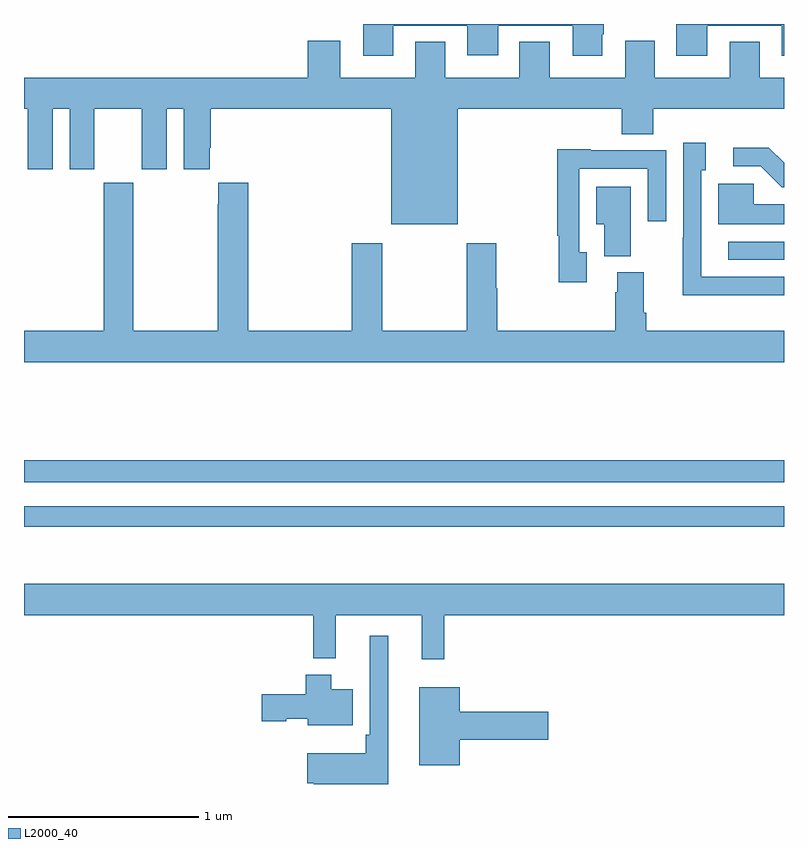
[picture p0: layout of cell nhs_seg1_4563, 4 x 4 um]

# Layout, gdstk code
import gdstk
lib = gdstk.Library(unit=1e-6, precision=1e-09)
def R(c, l, rs):  # rectangles x0, y0, x1, y1
    for r in rs: c.add(gdstk.rectangle(r[:2], r[2:], *l))
def P(c, l, *ps):  # polygons
    for p in ps: c.add(gdstk.Polygon(p, *l))
L2000_40 = (2000, 40)

nhs_seg1_4563 = lib.new_cell('nhs_seg1_4563')
R(nhs_seg1_4563, L2000_40, [(359,529.554,363,529.662), (359,529.788,363,529.904), (362.706,530.958,363,531.054)])
P(nhs_seg1_4563, L2000_40, [(362.596,532.19),(362.987,532.19),(362.987,532.032),(363,532.032),(363,532.199),(362.432,532.199),(362.432,532.032),(362.596,532.032)],
  [(360.943,532.191),(361.334,532.191),(361.334,532.035),(361.495,532.035),(361.495,532.191),(361.889,532.191),(361.889,532.032),(362.044,532.032),(362.044,532.144),(362.052,532.144),(362.052,532.199),(360.785,532.199),(360.785,532.032),(360.943,532.032)],
  [(362.147,531.619),(362.312,531.619),(362.312,531.752),(363,531.752),(363,531.916),(362.872,531.916),(362.872,532.105),(362.714,532.105),(362.714,531.916),(362.32,531.916),(362.32,532.111),(362.165,532.111),(362.165,531.916),(361.768,531.916),(361.768,532.106),(361.607,532.106),(361.607,531.916),(361.216,531.916),(361.216,532.106),(361.058,532.106),(361.058,531.916),(360.664,531.916),(360.664,532.111),(360.494,532.111),(360.494,531.916),(359,531.916),(359,531.752),(359.021,531.752),(359.021,531.435),(359.152,531.435),(359.152,531.752),(359.24,531.752),(359.24,531.435),(359.371,531.435),(359.371,531.752),(359.621,531.752),(359.621,531.435),(359.752,531.435),(359.752,531.752),(359.84,531.752),(359.84,531.435),(359.977,531.435),(359.977,531.547),(359.984,531.547),(359.984,531.752),(360.932,531.752),(360.932,531.146),(361.282,531.146),(361.282,531.752),(362.147,531.752)],
  [(362.93,530.772),(363,530.772),(363,530.868),(362.565,530.868),(362.565,531.429),(362.587,531.429),(362.587,531.574),(362.469,531.574),(362.469,531.074),(362.468,531.074),(362.468,530.771),(362.93,530.771)],
  [(363,531.468),(362.92,531.548),(362.733,531.548),(362.733,531.45),(362.877,531.45),(362.988,531.339),(363,531.339)],
  [(361.963,530.997),(361.923,530.997),(361.923,531.438),(362.283,531.438),(362.283,531.162),(362.379,531.162),(362.379,531.534),(361.983,531.534),(361.983,531.541),(361.807,531.541),(361.807,531.085),(361.815,531.085),(361.815,530.841),(361.963,530.841)],
  [(363,530.584),(362.276,530.584),(362.276,530.68),(362.263,530.68),(362.263,530.892),(362.123,530.892),(362.123,530.786),(362.111,530.786),(362.111,530.584),(361.49,530.584),(361.49,530.807),(361.485,530.807),(361.485,531.046),(361.33,531.046),(361.33,530.584),(360.885,530.584),(360.885,531.046),(360.725,531.046),(360.725,530.584),(360.179,530.584),(360.179,531.364),(360.023,531.364),(360.023,531.251),(360.019,531.251),(360.019,530.584),(359.574,530.584),(359.574,531.364),(359.419,531.364),(359.419,530.584),(359,530.584),(359,530.42),(363,530.42)],
  [(363,531.25),(362.841,531.25),(362.841,531.357),(362.654,531.357),(362.654,531.146),(363,531.146)],
  [(362.194,531.343),(362.012,531.343),(362.012,531.146),(362.054,531.146),(362.054,530.977),(362.194,530.977)],
  [(361.211,529.088),(363,529.088),(363,529.252),(359,529.252),(359,529.088),(360.523,529.088),(360.523,528.86),(360.641,528.86),(360.641,529.088),(361.094,529.088),(361.094,528.855),(361.211,528.855)],
  [(360.916,528.979),(360.819,528.979),(360.819,528.457),(360.799,528.457),(360.799,528.361),(360.492,528.361),(360.492,528.203),(360.526,528.203),(360.526,528.199),(360.916,528.199)],
  [(360.73,528.697),(360.616,528.697),(360.616,528.775),(360.482,528.775),(360.482,528.672),(360.252,528.672),(360.252,528.53),(360.381,528.53),(360.381,528.542),(360.494,528.542),(360.494,528.509),(360.73,528.509)],
  [(361.294,528.431),(361.759,528.431),(361.759,528.578),(361.294,528.578),(361.294,528.709),(361.079,528.709),(361.079,528.299),(361.294,528.299)])

lib.write_gds('nhs_seg1_4563.gds')
